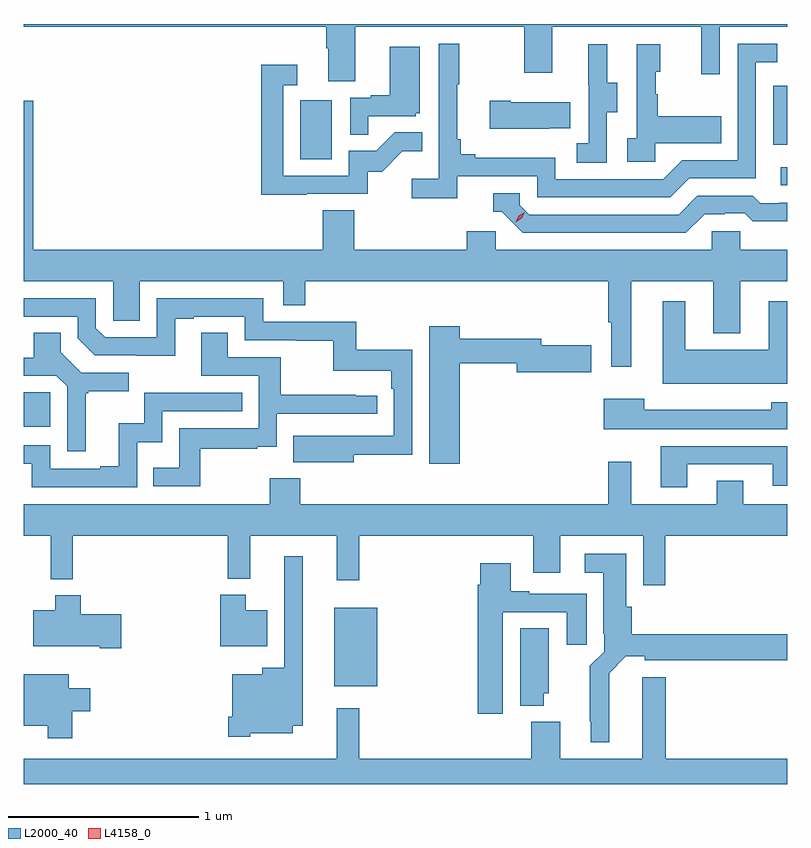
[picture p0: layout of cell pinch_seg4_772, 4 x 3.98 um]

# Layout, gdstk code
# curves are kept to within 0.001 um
import gdstk
lib = gdstk.Library(unit=1e-6, precision=1e-09)
def R(c, l, rs):  # rectangles x0, y0, x1, y1
    for r in rs: c.add(gdstk.rectangle(r[:2], r[2:], *l))
def P(c, l, *ps):  # polygons
    for p in ps: c.add(gdstk.Polygon(p, *l))
L2000_40 = (2000, 40)
L4158_0 = (4158, 0)

pinch_seg4_772 = lib.new_cell('pinch_seg4_772')
R(pinch_seg4_772, L2000_40, [(815.513,829.331,815.74,829.741), (817.851,831.954,817.887,832.05), (815.336,832.092,815.5,832.399), (817.812,832.167,817.887,832.476)])
P(pinch_seg4_772, L2000_40, [(815.623,832.784),(816.508,832.784),(816.508,832.545),(816.655,832.545),(816.655,832.784),(817.436,832.784),(817.436,832.536),(817.533,832.536),(817.533,832.784),(817.887,832.784),(817.887,832.799),(813.887,832.799),(813.887,832.784),(815.471,832.784),(815.471,832.672),(815.483,832.672),(815.483,832.498),(815.623,832.498)],
  [(816.158,832.002),(816.576,832.002),(816.576,831.891),(817.273,831.891),(817.372,831.99),(817.722,831.99),(817.722,832.599),(817.835,832.599),(817.835,832.695),(817.626,832.695),(817.626,832.086),(817.335,832.086),(817.236,831.987),(816.672,831.987),(816.672,832.099),(816.253,832.099),(816.253,832.118),(816.176,832.118),(816.176,832.195),(816.157,832.195),(816.157,832.483),(816.169,832.483),(816.169,832.696),(816.06,832.696),(816.06,831.988),(815.919,831.988),(815.919,831.886),(816.158,831.886)],
  [(817.194,832.175),(817.541,832.175),(817.541,832.315),(817.207,832.315),(817.207,832.43),(817.197,832.43),(817.197,832.548),(817.222,832.548),(817.222,832.693),(817.098,832.693),(817.098,832.202),(817.047,832.202),(817.047,832.077),(817.194,832.077)],
  [(816.942,832.336),(816.997,832.336),(816.997,832.491),(816.943,832.491),(816.943,832.693),(816.845,832.693),(816.845,832.479),(816.846,832.479),(816.846,832.175),(816.783,832.175),(816.783,832.072),(816.942,832.072)],
  [(815.693,832.317),(815.94,832.317),(815.94,832.332),(815.962,832.332),(815.962,832.681),(815.804,832.681),(815.804,832.426),(815.705,832.426),(815.705,832.413),(815.598,832.413),(815.598,832.219),(815.693,832.219)],
  [(815.369,831.909),(815.688,831.909),(815.688,832.026),(815.764,832.026),(815.871,832.133),(815.975,832.133),(815.975,832.232),(815.831,832.232),(815.733,832.134),(815.589,832.134),(815.589,832.005),(815.247,832.005),(815.247,832.479),(815.32,832.479),(815.32,832.585),(815.131,832.585),(815.131,831.904),(815.369,831.904)],
  [(816.641,832.253),(816.749,832.253),(816.749,832.39),(816.439,832.39),(816.439,832.398),(816.327,832.398),(816.327,832.25),(816.641,832.25)],
  [(816.209,831.714),(816.209,831.616),(815.618,831.616),(815.618,831.824),(815.453,831.824),(815.453,831.616),(813.938,831.616),(813.938,832.396),(813.887,832.396),(813.887,831.452),(814.356,831.452),(814.356,831.244),(814.495,831.244),(814.495,831.452),(815.247,831.452),(815.247,831.325),(815.363,831.325),(815.363,831.452),(816.948,831.452),(816.948,831.236),(816.965,831.236),(816.965,831.003),(817.069,831.003),(817.069,831.452),(817.499,831.452),(817.499,831.179),(817.639,831.179),(817.639,831.452),(817.887,831.452),(817.887,831.616),(817.641,831.616),(817.641,831.714),(817.491,831.714),(817.491,831.616),(816.36,831.616),(816.36,831.714)],
  [(817.453,831.804),(817.56,831.804),(817.56,831.807),(817.663,831.807),(817.705,831.765),(817.887,831.765),(817.887,831.864),(817.843,831.864),(817.843,831.861),(817.744,831.861),(817.705,831.9),(817.416,831.9),(817.317,831.801),(816.534,831.801),(816.486,831.849),(816.486,831.912),(816.347,831.912),(816.347,831.816),(816.39,831.816),(816.501,831.705),(817.354,831.705)],
  [(815.617,830.542),(815.922,830.542),(815.922,831.094),(815.629,831.094),(815.629,831.24),(815.142,831.24),(815.142,831.363),(814.584,831.363),(814.584,831.159),(814.314,831.159),(814.266,831.207),(814.266,831.363),(813.887,831.363),(813.887,831.267),(814.17,831.267),(814.17,831.153),(814.26,831.063),(814.681,831.062),(814.681,831.255),(814.777,831.255),(814.777,831.267),(815.046,831.267),(815.046,831.144),(815.311,831.144),(815.311,831.139),(815.508,831.139),(815.508,830.984),(815.813,830.984),(815.813,830.888),(815.826,830.888),(815.826,830.643),(815.299,830.644),(815.299,830.504),(815.617,830.504)],
  [(817.887,831.346),(817.79,831.346),(817.79,831.094),(817.351,831.094),(817.351,831.346),(817.235,831.346),(817.235,830.915),(817.887,830.915)],
  [(816.172,831.022),(816.47,831.022),(816.47,830.975),(816.859,830.975),(816.859,831.117),(816.598,831.117),(816.598,831.151),(816.172,831.151),(816.172,831.217),(816.011,831.217),(816.011,830.496),(816.172,830.496)],
  [(814.813,830.574),(815.111,830.574),(815.111,830.585),(815.214,830.585),(815.214,830.757),(815.74,830.757),(815.74,830.853),(815.627,830.853),(815.627,830.858),(815.234,830.858),(815.234,831.054),(814.957,831.054),(814.957,831.182),(814.817,831.182),(814.817,830.958),(815.118,830.958),(815.118,830.682),(814.702,830.682),(814.702,830.476),(814.567,830.476),(814.567,830.379),(814.813,830.379)],
  [(814.213,830.865),(814.225,830.865),(814.225,830.876),(814.438,830.876),(814.438,830.973),(814.188,830.973),(814.081,831.08),(814.081,831.182),(813.941,831.182),(813.941,831.05),(813.887,831.05),(813.887,830.958),(814.059,830.958),(814.116,830.901),(814.116,830.562),(814.213,830.562)],
  [(814.026,830.871),(813.889,830.871),(813.889,830.787),(813.887,830.787),(813.887,830.691),(814.026,830.691)],
  [(814.482,830.609),(814.614,830.609),(814.614,830.772),(815.033,830.772),(815.033,830.868),(814.518,830.868),(814.518,830.707),(814.385,830.707),(814.385,830.482),(814.289,830.482),(814.289,830.469),(814.026,830.469),(814.026,830.592),(813.887,830.592),(813.887,830.496),(813.93,830.496),(813.93,830.373),(814.482,830.373)],
  [(817.887,830.818),(817.802,830.818),(817.802,830.779),(817.138,830.779),(817.138,830.836),(816.924,830.836),(816.924,830.678),(817.887,830.678)],
  [(817.363,830.493),(817.811,830.493),(817.811,830.381),(817.887,830.381),(817.887,830.589),(817.223,830.589),(817.223,830.373),(817.363,830.373)],
  [(813.887,830.12),(814.028,830.12),(814.028,829.892),(814.145,829.892),(814.145,830.12),(814.957,830.12),(814.957,829.895),(815.075,829.895),(815.075,830.12),(815.528,830.12),(815.528,829.887),(815.645,829.887),(815.645,830.12),(816.557,830.12),(816.557,829.926),(816.697,829.926),(816.697,830.12),(817.131,830.12),(817.131,829.86),(817.247,829.86),(817.247,830.12),(817.887,830.12),(817.887,830.284),(817.657,830.284),(817.657,830.408),(817.517,830.408),(817.517,830.284),(817.069,830.284),(817.069,830.506),(816.948,830.506),(816.948,830.284),(815.336,830.284),(815.336,830.419),(815.176,830.419),(815.176,830.284),(813.887,830.284)],
  [(816.955,829.4),(817.041,829.487),(817.14,829.487),(817.14,829.468),(817.887,829.468),(817.887,829.604),(817.073,829.604),(817.073,829.746),(817.042,829.746),(817.042,830.026),(816.825,830.026),(816.825,829.925),(816.923,829.925),(816.923,829.606),(816.927,829.606),(816.927,829.512),(816.853,829.438),(816.853,829.147),(816.857,829.147),(816.857,829.037),(816.955,829.037)],
  [(815.073,829.085),(815.296,829.085),(815.296,829.124),(815.35,829.124),(815.35,830.011),(815.253,830.011),(815.253,829.429),(815.138,829.429),(815.138,829.393),(814.979,829.393),(814.979,829.171),(814.958,829.171),(814.958,829.067),(815.073,829.067)],
  [(816.397,829.719),(816.731,829.719),(816.731,829.548),(816.835,829.548),(816.835,829.815),(816.535,829.815),(816.535,829.828),(816.439,829.828),(816.439,829.975),(816.278,829.975),(816.278,829.862),(816.266,829.862),(816.266,829.188),(816.397,829.188)],
  [(815.164,829.729),(815.05,829.729),(815.05,829.81),(814.916,829.81),(814.916,829.541),(815.164,829.541)],
  [(814.399,829.707),(814.187,829.707),(814.187,829.807),(814.052,829.807),(814.052,829.729),(813.938,829.729),(813.938,829.541),(814.286,829.541),(814.286,829.529),(814.399,829.529)],
  [(816.61,829.293),(816.637,829.293),(816.637,829.634),(816.488,829.634),(816.488,829.229),(816.61,829.229)],
  [(814.142,829.199),(814.237,829.199),(814.237,829.321),(814.123,829.321),(814.123,829.393),(813.887,829.393),(813.887,829.124),(814.014,829.124),(814.014,829.059),(814.142,829.059)],
  [(817.887,828.952),(817.25,828.952),(817.25,829.378),(817.127,829.378),(817.127,828.952),(816.697,828.952),(816.697,829.144),(816.545,829.144),(816.545,828.952),(815.645,828.952),(815.645,829.216),(815.527,829.216),(815.527,828.952),(813.887,828.952),(813.887,828.819),(817.887,828.819)])
P(pinch_seg4_772, L4158_0, [(816.464,831.762),(816.464,831.762),(816.48,831.795),(816.511,831.814),(816.512,831.814),(816.512,831.814),(816.495,831.781),(816.464,831.762)])

lib.write_gds('pinch_seg4_772.gds')
